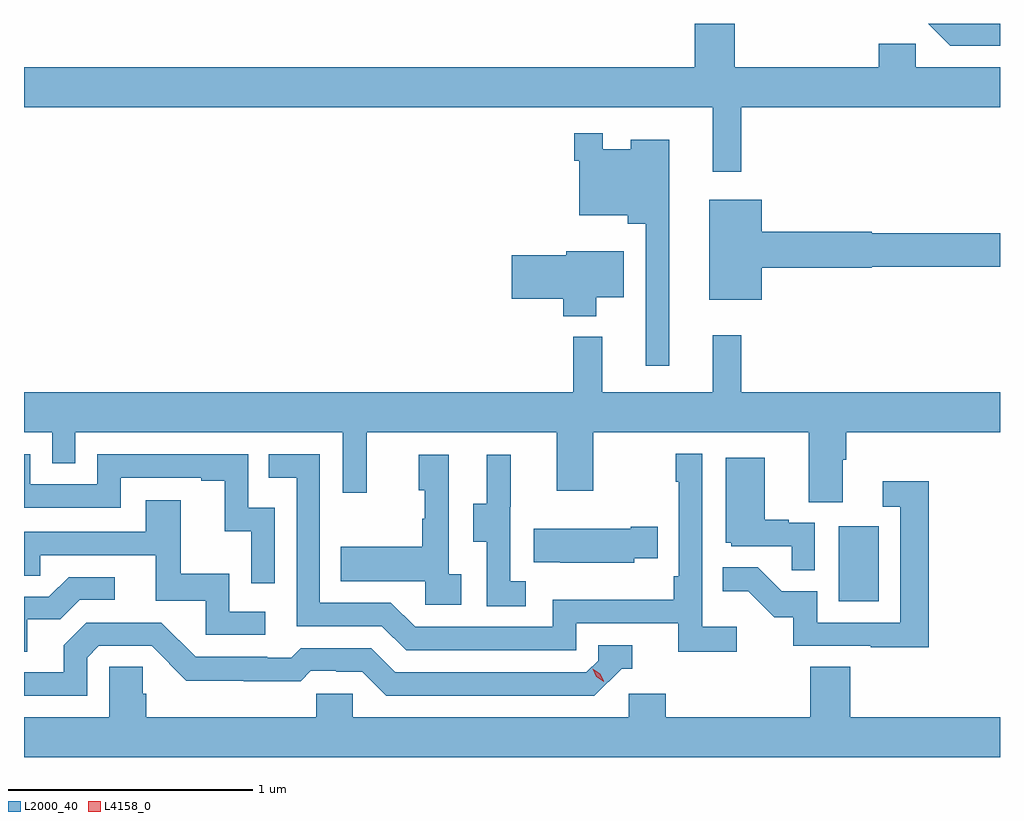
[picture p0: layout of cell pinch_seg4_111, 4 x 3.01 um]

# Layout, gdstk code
import gdstk
lib = gdstk.Library(unit=1e-6, precision=1e-09)
def R(c, l, rs):  # rectangles x0, y0, x1, y1
    for r in rs: c.add(gdstk.rectangle(r[:2], r[2:], *l))
def P(c, l, *ps):  # polygons
    for p in ps: c.add(gdstk.Polygon(p, *l))
L2000_40 = (2000, 40)
L4158_0 = (4158, 0)

pinch_seg4_111 = lib.new_cell('pinch_seg4_111')
R(pinch_seg4_111, L2000_40, [(1059.134,794.796,1059.298,795.103)])
P(pinch_seg4_111, L2000_40, [(1058.735,796.82),(1059.795,796.82),(1059.795,796.984),(1059.45,796.984),(1059.45,797.082),(1059.299,797.082),(1059.299,796.984),(1058.708,796.984),(1058.708,797.164),(1058.543,797.164),(1058.543,796.984),(1055.795,796.984),(1055.795,796.82),(1058.618,796.82),(1058.618,796.557),(1058.735,796.557)],
  [(1059.795,797.164),(1059.5,797.164),(1059.591,797.073),(1059.795,797.073)],
  [(1058.44,796.687),(1058.282,796.687),(1058.282,796.648),(1058.166,796.648),(1058.166,796.714),(1058.05,796.714),(1058.05,796.601),(1058.07,796.601),(1058.07,796.379),(1058.27,796.379),(1058.27,796.343),(1058.343,796.343),(1058.343,795.762),(1058.44,795.762)],
  [(1058.818,796.163),(1059.27,796.163),(1059.27,796.168),(1059.795,796.168),(1059.795,796.304),(1059.27,796.304),(1059.27,796.31),(1058.818,796.31),(1058.818,796.441),(1058.603,796.441),(1058.603,796.031),(1058.818,796.031)],
  [(1058.14,796.043),(1058.254,796.043),(1058.254,796.231),(1058.018,796.231),(1058.018,796.214),(1057.794,796.214),(1057.794,796.036),(1058.006,796.036),(1058.006,795.965),(1058.14,795.965)],
  [(1059.151,795.376),(1059.164,795.376),(1059.164,795.488),(1059.795,795.488),(1059.795,795.652),(1058.735,795.652),(1058.735,795.886),(1058.618,795.886),(1058.618,795.652),(1058.165,795.652),(1058.165,795.88),(1058.047,795.88),(1058.047,795.652),(1055.795,795.652),(1055.795,795.488),(1055.91,795.488),(1055.91,795.361),(1056.006,795.361),(1056.006,795.488),(1057.101,795.488),(1057.101,795.24),(1057.199,795.24),(1057.199,795.488),(1057.979,795.488),(1057.979,795.249),(1058.127,795.249),(1058.127,795.488),(1059.011,795.488),(1059.011,795.202),(1059.151,795.202)],
  [(1058.716,794.692),(1058.574,794.692),(1058.574,795.4),(1058.466,795.4),(1058.466,795.287),(1058.478,795.287),(1058.478,794.899),(1058.458,794.899),(1058.458,794.803),(1057.962,794.803),(1057.962,794.691),(1057.398,794.691),(1057.299,794.79),(1057.008,794.79),(1057.008,795.399),(1056.799,795.399),(1056.799,795.303),(1056.912,795.303),(1056.912,794.694),(1057.262,794.694),(1057.361,794.595),(1058.058,794.595),(1058.058,794.706),(1058.477,794.706),(1058.477,794.59),(1058.716,794.59)],
  [(1056.822,795.18),(1056.714,795.18),(1056.714,795.399),(1056.096,795.399),(1056.096,795.276),(1055.82,795.276),(1055.82,795.399),(1055.795,795.399),(1055.795,795.18),(1056.192,795.18),(1056.192,795.303),(1056.521,795.303),(1056.521,795.291),(1056.617,795.291),(1056.617,795.083),(1056.726,795.083),(1056.726,794.871),(1056.822,794.871)],
  [(1057.852,794.879),(1057.788,794.879),(1057.788,795.183),(1057.79,795.183),(1057.79,795.397),(1057.691,795.397),(1057.691,795.195),(1057.637,795.195),(1057.637,795.04),(1057.692,795.04),(1057.692,794.776),(1057.852,794.776)],
  [(1057.588,794.906),(1057.536,794.906),(1057.536,795.397),(1057.412,795.397),(1057.412,795.252),(1057.438,795.252),(1057.438,795.134),(1057.428,795.134),(1057.428,795.019),(1057.093,795.019),(1057.093,794.879),(1057.44,794.879),(1057.44,794.781),(1057.588,794.781)],
  [(1059.036,795.117),(1058.93,795.117),(1058.93,795.13),(1058.83,795.13),(1058.83,795.385),(1058.672,795.385),(1058.672,795.036),(1058.694,795.036),(1058.694,795.021),(1058.941,795.021),(1058.941,794.923),(1059.036,794.923)],
  [(1059.503,795.289),(1059.315,795.289),(1059.315,795.183),(1059.387,795.183),(1059.387,794.709),(1059.045,794.709),(1059.045,794.838),(1058.901,794.838),(1058.803,794.936),(1058.659,794.936),(1058.659,794.837),(1058.763,794.837),(1058.87,794.73),(1058.947,794.73),(1058.947,794.613),(1059.265,794.613),(1059.265,794.608),(1059.503,794.608)],
  [(1056.784,794.754),(1056.636,794.754),(1056.636,794.908),(1056.437,794.908),(1056.437,795.211),(1056.293,795.211),(1056.293,795.081),(1055.795,795.081),(1055.795,794.901),(1055.861,794.901),(1055.861,794.985),(1056.335,794.985),(1056.335,794.799),(1056.54,794.799),(1056.54,794.658),(1056.784,794.658)],
  [(1058.295,794.972),(1058.393,794.972),(1058.393,795.102),(1058.282,795.102),(1058.282,795.094),(1057.885,795.094),(1057.885,794.957),(1057.993,794.957),(1057.993,794.954),(1058.295,794.954)],
  [(1055.809,794.722),(1055.944,794.722),(1056.024,794.802),(1056.166,794.802),(1056.166,794.895),(1055.978,794.895),(1055.897,794.814),(1055.795,794.814),(1055.795,794.59),(1055.809,794.59)],
  [(1056.054,794.565),(1056.102,794.613),(1056.318,794.613),(1056.46,794.471),(1056.696,794.471),(1056.696,794.469),(1056.929,794.469),(1056.971,794.511),(1057.074,794.511),(1057.074,794.508),(1057.181,794.508),(1057.28,794.409),(1058.133,794.409),(1058.244,794.52),(1058.287,794.52),(1058.287,794.616),(1058.148,794.616),(1058.148,794.553),(1058.1,794.505),(1057.317,794.505),(1057.218,794.604),(1056.929,794.604),(1056.89,794.565),(1056.791,794.565),(1056.791,794.568),(1056.498,794.568),(1056.357,794.709),(1056.051,794.709),(1055.957,794.615),(1055.957,794.505),(1055.795,794.505),(1055.795,794.409),(1056.054,794.409)],
  [(1059.795,794.32),(1059.182,794.32),(1059.182,794.528),(1059.017,794.528),(1059.017,794.32),(1058.426,794.32),(1058.426,794.418),(1058.274,794.418),(1058.274,794.32),(1057.143,794.32),(1057.143,794.418),(1056.993,794.418),(1056.993,794.32),(1056.296,794.32),(1056.296,794.418),(1056.281,794.418),(1056.281,794.528),(1056.144,794.528),(1056.144,794.32),(1055.795,794.32),(1055.795,794.156),(1059.795,794.156)])
P(pinch_seg4_111, L4158_0, [(1058.172,794.467),(1058.141,794.487),(1058.125,794.519),(1058.125,794.52),(1058.125,794.52),(1058.156,794.5),(1058.172,794.468),(1058.172,794.467)])

lib.write_gds('pinch_seg4_111.gds')
